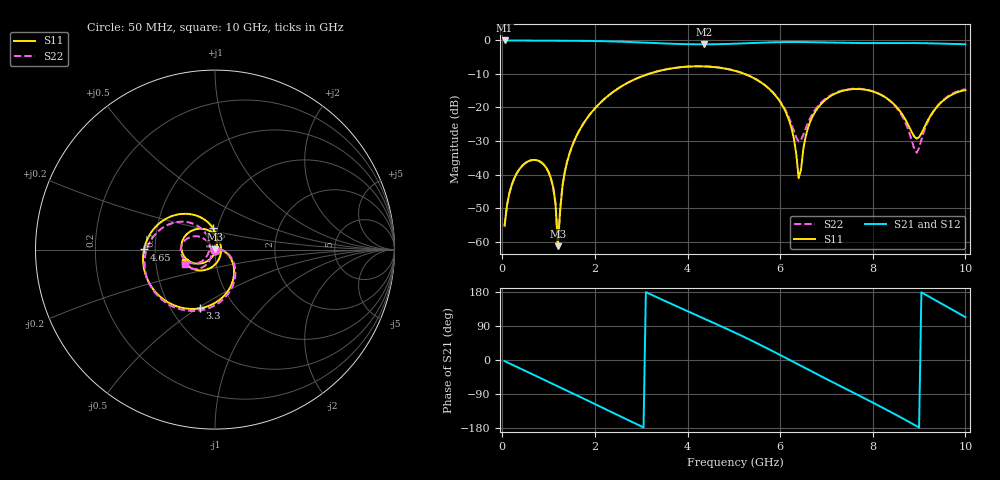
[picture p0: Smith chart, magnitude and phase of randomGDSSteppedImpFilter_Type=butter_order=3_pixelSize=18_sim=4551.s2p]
! freq	dB(S11)	phase(S11)	dB(S12)	phase(S12)
!  dB(S21)	phase(S21)	dB(S22)	phase(S22)
!S-par simulation data
#  GHz  S  DB  R 50
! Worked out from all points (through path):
!   200 points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, 50 MHz to 10 GHz, reference 50 ohm
!   highest |S21| = 0.00 dB at 50 MHz (marker M1); lowest = -1.2 dB at 4.35 GHz (marker M2)
!   group delay of S21, straight-line fit = 166 ps
!   lowest |S11| = -61.4 dB at 1.2 GHz (marker M3), VSWR 1.00, Z = 49.9 + j0.0611 ohm
!   |S11| at or under -10 dB: start of sweep to 3.158 GHz; 5.233 GHz to end of sweep
!   |S22| runs from -60.4 to -7.7 dB; largest |S21 - S12| = 0
!   S11 on the Smith chart (normalised r, x): 50 MHz: 1.00, -0.00; 3.3 GHz: 0.69, -0.51; 4.65 GHz: 0.43, +0.00; 6 GHz: 0.95, +0.23; 10 GHz: 0.71, -0.10
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0.05  -55.26 -89.1  -0.00 -3.0  -0.00 -3.0  -55.26 -89.1
0.3  -39.94 -105.3  -0.03 -17.4  -0.03 -17.4  -39.95 -105.0
0.8  -36.00 -136.6  -0.05 -46.3  -0.05 -46.3  -36.02 -136.0
1.1  -43.87 -156.9  -0.07 -63.6  -0.07 -63.6  -43.94 -157.1
1.2  -61.37 134.3  -0.08 -69.4  -0.08 -69.4  -60.39 132.1
1.35  -39.22 13.2  -0.09 -78.2  -0.09 -78.2  -39.14 16.0
1.75  -24.84 -12.4  -0.13 -101.6  -0.13 -101.6  -24.81 -10.0
2.55  -13.90 -60.8  -0.36 -148.9  -0.36 -148.9  -13.88 -57.4
3.3  -9.41 -104.7  -0.79 167.7  -0.79 167.7  -9.40 -100.0
3.4  -9.05 -110.4  -0.85 162.1  -0.85 162.1  -9.04 -105.5
4.35  -7.74 -163.4  -1.16 109.8  -1.16 109.8  -7.72 -156.0
4.65  -8.05 179.9  -1.12 93.3  -1.12 93.3  -8.04 -171.6
5.05  -9.16 156.8  -0.96 70.8  -0.96 70.8  -9.14 167.4
6  -18.33 95.8  -0.50 13.2  -0.50 13.2  -18.13 121.3
6.25  -26.43 74.7  -0.46 -2.7  -0.46 -2.7  -25.13 125.4
6.4  -41.09 9.9  -0.46 -12.3  -0.46 -12.3  -30.13 166.8
6.7  -22.67 -122.5  -0.52 -31.4  -0.52 -31.4  -21.88 -137.9
7.55  -14.53 177.8  -0.77 -84.3  -0.77 -84.3  -14.42 -173.4
8.35  -17.73 118.0  -0.78 -134.7  -0.78 -134.7  -17.83 144.6
8.95  -29.27 2.1  -0.79 -174.6  -0.79 -174.6  -33.46 -168.2
9.35  -20.42 -97.8  -0.89 158.0  -0.89 158.0  -20.36 -119.9
10  -14.82 -157.9  -1.13 113.2  -1.13 113.2  -14.56 -154.7
